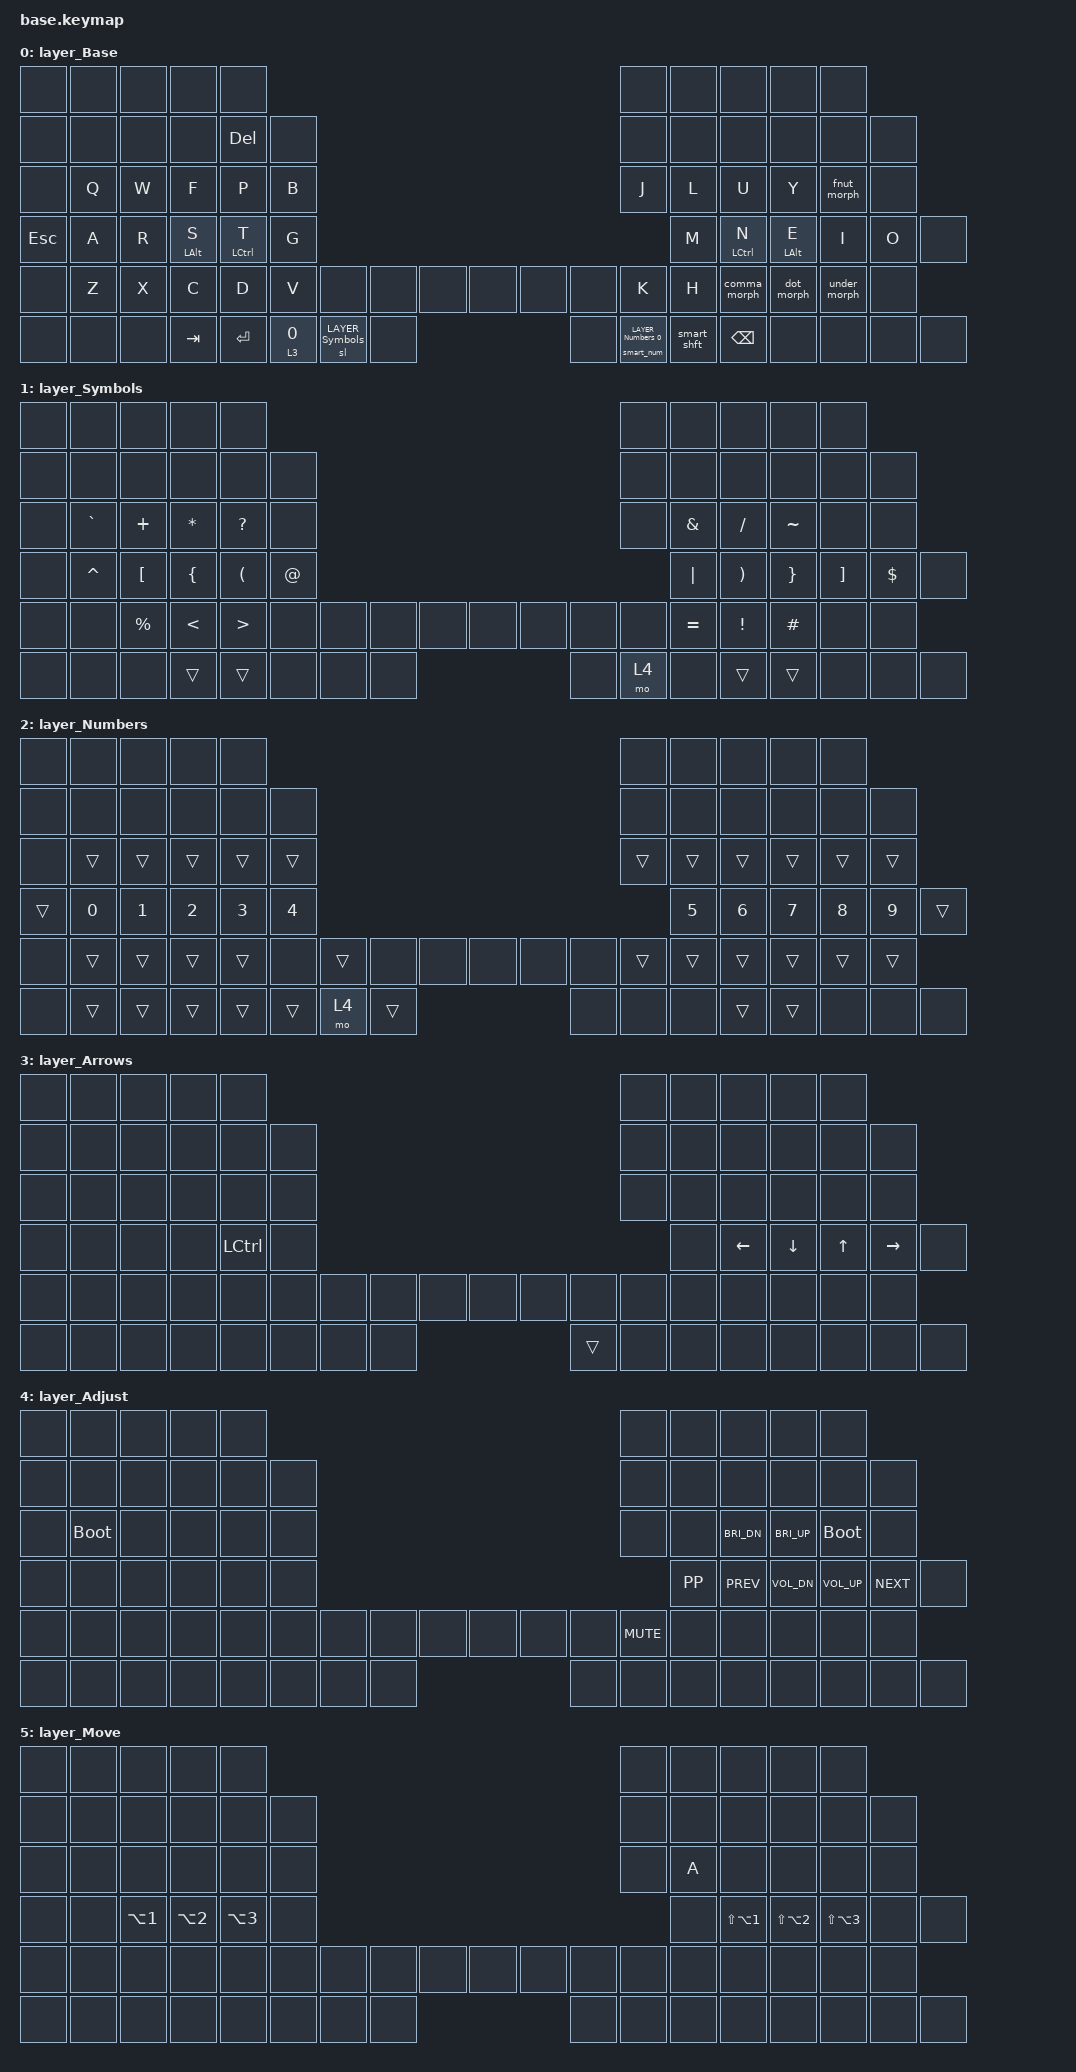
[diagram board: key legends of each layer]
/*
 * Copyright (c) 2020 The ZMK Contributors
 * Copyright (c) 2023 Innaworks Development Limited, trading as MoErgo
 *
 * SPDX-License-Identifier: MIT
 */


/* THIS FILE WAS GENERATED BY GLOVE80 LAYOUT EDITOR
 *
 * This file was generated automatically. You may or may not want to
 * edit it directly.
 */

#include <behaviors.dtsi>
#include <behaviors/num_word.dtsi> // requires auto-layer module
/* Include all behavior includes needed */
#include <dt-bindings/zmk/outputs.h>
#include <dt-bindings/zmk/keys.h>
#include <dt-bindings/zmk/bt.h>
#include <dt-bindings/zmk/rgb.h>


#include "zmk-helpers/helper.h"

/* Automatically generated layer name #define */
#define LAYER_Base 0
#define LAYER_Symbols 1
#define LAYER_Numbers 2
#define LAYER_Arrows 3
#define LAYER_Adjust 4
#define LAYER_Move 5

/* To deal with the situation where there is no Lower layer, to keep &lower happy */
#ifndef LAYER_Lower
#define LAYER_Lower 0
#endif

/* Custom Device-tree */



/* Glove80 system behavior & macros */

/* #define for key positions */
#define POS_LH_T1 52
#define POS_LH_T2 53
#define POS_LH_T3 54
#define POS_LH_T4 69
#define POS_LH_T5 70
#define POS_LH_T6 71
#define POS_LH_C1R2 15
#define POS_LH_C1R3 27
#define POS_LH_C1R4 39
#define POS_LH_C1R5 51
#define POS_LH_C2R1 4
#define POS_LH_C2R2 14
#define POS_LH_C2R3 26
#define POS_LH_C2R4 38
#define POS_LH_C2R5 50
#define POS_LH_C2R6 68
#define POS_LH_C3R1 3
#define POS_LH_C3R2 13
#define POS_LH_C3R3 25
#define POS_LH_C3R4 37
#define POS_LH_C3R5 49
#define POS_LH_C3R6 67
#define POS_LH_C4R1 2
#define POS_LH_C4R2 12
#define POS_LH_C4R3 24
#define POS_LH_C4R4 36
#define POS_LH_C4R5 48
#define POS_LH_C4R6 66
#define POS_LH_C5R1 1
#define POS_LH_C5R2 11
#define POS_LH_C5R3 23
#define POS_LH_C5R4 35
#define POS_LH_C5R5 47
#define POS_LH_C5R6 65
#define POS_LH_C6R1 0
#define POS_LH_C6R2 10
#define POS_LH_C6R3 22
#define POS_LH_C6R4 34
#define POS_LH_C6R5 46
#define POS_LH_C6R6 64
#define POS_RH_T1 57
#define POS_RH_T2 56
#define POS_RH_T3 55
#define POS_RH_T4 74
#define POS_RH_T5 73
#define POS_RH_T6 72
#define POS_RH_C1R2 16
#define POS_RH_C1R3 28
#define POS_RH_C1R4 40
#define POS_RH_C1R5 58
#define POS_RH_C2R1 5
#define POS_RH_C2R2 17
#define POS_RH_C2R3 29
#define POS_RH_C2R4 41
#define POS_RH_C2R5 59
#define POS_RH_C2R6 75
#define POS_RH_C3R1 6
#define POS_RH_C3R2 18
#define POS_RH_C3R3 30
#define POS_RH_C3R4 42
#define POS_RH_C3R5 60
#define POS_RH_C3R6 76
#define POS_RH_C4R1 7
#define POS_RH_C4R2 19
#define POS_RH_C4R3 31
#define POS_RH_C4R4 43
#define POS_RH_C4R5 61
#define POS_RH_C4R6 77
#define POS_RH_C5R1 8
#define POS_RH_C5R2 20
#define POS_RH_C5R3 32
#define POS_RH_C5R4 44
#define POS_RH_C5R5 62
#define POS_RH_C5R6 78
#define POS_RH_C6R1 9
#define POS_RH_C6R2 21
#define POS_RH_C6R3 33
#define POS_RH_C6R4 45
#define POS_RH_C6R5 63
#define POS_RH_C6R6 79

#define KEYS_R POS_RH_T1 57   \
POS_RH_T2 56   \
POS_RH_T3 55   \
POS_RH_T4 74   \
POS_RH_T5 73   \
POS_RH_T6 72   \
POS_RH_C1R2 16 \
POS_RH_C1R3 28 \
POS_RH_C1R4 40 \
POS_RH_C1R5 58 \
POS_RH_C2R1 5  \
POS_RH_C2R2 17 \
POS_RH_C2R3 29 \
POS_RH_C2R4 41 \
POS_RH_C2R5 59 \
POS_RH_C2R6 75 \
POS_RH_C3R1 6  \
POS_RH_C3R2 18 \
POS_RH_C3R3 30 \
POS_RH_C3R4 42 \
POS_RH_C3R5 60 \
POS_RH_C3R6 76 \
POS_RH_C4R1 7  \
POS_RH_C4R2 19 \
POS_RH_C4R3 31 \
POS_RH_C4R4 43 \
POS_RH_C4R5 61 \
POS_RH_C4R6 77 \
POS_RH_C5R1 8  \
POS_RH_C5R2 20 \
POS_RH_C5R3 32 \
POS_RH_C5R4 44 \
POS_RH_C5R5 62 \
POS_RH_C5R6 78 \
POS_RH_C6R1 9  \
POS_RH_C6R2 21 \
POS_RH_C6R3 33 \
POS_RH_C6R4 45 \
POS_RH_C6R5 63 \
POS_RH_C6R6 79 \


#define KEYS_L POS_LH_T1 52  \
POS_LH_T2 53  \
POS_LH_T3 54  \
POS_LH_T4 69  \
POS_LH_T5 70  \
POS_LH_T6 71  \
POS_LH_C1R2 15 \
POS_LH_C1R3 27 \
POS_LH_C1R4 39 \
POS_LH_C1R5 51 \
POS_LH_C2R1 4  \
POS_LH_C2R2 14 \
POS_LH_C2R3 26 \
POS_LH_C2R4 38 \
POS_LH_C2R5 50 \
POS_LH_C2R6 68 \
POS_LH_C3R1 3  \
POS_LH_C3R2 13 \
POS_LH_C3R3 25 \
POS_LH_C3R4 37 \
POS_LH_C3R5 49 \
POS_LH_C3R6 67 \
POS_LH_C4R1 2  \
POS_LH_C4R2 12 \
POS_LH_C4R3 24 \
POS_LH_C4R4 36 \
POS_LH_C4R5 48 \
POS_LH_C4R6 66 \
POS_LH_C5R1 1  \
POS_LH_C5R2 11 \
POS_LH_C5R3 23 \
POS_LH_C5R4 35 \
POS_LH_C5R5 47 \
POS_LH_C5R6 65 \
POS_LH_C6R1 0  \
POS_LH_C6R2 10 \
POS_LH_C6R3 22 \
POS_LH_C6R4 34 \
POS_LH_C6R5 46 \
POS_LH_C6R6 64 \



#define QUICK_TAP_MS 175


#define COMBO_TERM_FAST 18
#define COMBO_TERM_SLOW 30

#define COMBO_IDLE_FAST 150
#define COMBO_IDLE_SLOW 50

#define MAKE_HRM(NAME, HOLD, TAP, TRIGGER_POS) \
    ZMK_HOLD_TAP(NAME, \
        flavor = "balanced"; \
        tapping-term-ms = <280>; \
        quick-tap-ms = <QUICK_TAP_MS>; \
        require-prior-idle-ms = <150>; \
        bindings = <HOLD>, <TAP>; \
        hold-trigger-key-positions = <TRIGGER_POS>; \
    )

MAKE_HRM(hml, &kp, &kp, KEYS_R)  // left-hand HRMs
MAKE_HRM(hmr, &kp, &kp, KEYS_L)  // right-hand HRMs

&sk {  // sticky-key config
    release-after-ms = <900>;  // release after 0.9s
    quick-release;             // no double capitalization when rolling keys
};


&lt {  // layer-tap config
    flavor = "balanced";
    tapping-term-ms = <200>;
    quick-tap-ms = <QUICK_TAP_MS>;
};


// reuse basic mod-morph scheme
#define SIMPLE_MORPH(NAME, MOD, BINDING1, BINDING2) \
    ZMK_MOD_MORPH(NAME, \
        mods = <(MOD_L ## MOD|MOD_R ## MOD)>; \
        bindings = <BINDING1>, <BINDING2>; \
    )


// tap: space | shift + tap: sticky move layer | hold: arrows layer
ZMK_HOLD_TAP(lt_spc,
    flavor = "balanced";
    tapping-term-ms = <200>;
    quick-tap-ms = <QUICK_TAP_MS>;
    bindings = <&mo>, <&spc_morph>;
)
ZMK_MOD_MORPH(spc_morph,
    bindings = <&kp SPACE>, <&spc_macro>;
    mods = <(MOD_LSFT)>;
)
ZMK_MACRO(spc_macro,
    wait-ms = <0>;
    tap-ms = <0>;
    bindings = <&kp K_CANCEL &sl LAYER_Move>;
)

// tap: sticky-shift | shift + tap/ double-tap: caps-word | hold: shift
#define SMART_SHIFT &smart_shft
ZMK_MOD_MORPH(smart_shft,
    bindings = <&sk LSHFT>, <&caps_word>;
    mods = <(MOD_LSFT)>;
)

// tap: num-word | double-tap: sticky num-layer | hold: num-layer
#define SMART_NUM &smart_num LAYER_Numbers 0
ZMK_HOLD_TAP(smart_num,
    flavor = "balanced";
    tapping-term-ms = <200>;
    quick-tap-ms = <QUICK_TAP_MS>;
    bindings = <&mo>, <&num_dance>;
)
ZMK_TAP_DANCE(num_dance,
    tapping-term-ms = <200>;
    bindings = <&num_word LAYER_Numbers>, <&sl LAYER_Numbers>;  // reverse this for sticky-num on single tap
)

// tap: dot | shift + tap: colon
SIMPLE_MORPH(dot_morph, SFT, &kp DOT, &kp COLON)

// tap: comma | shift + tap: semicolon
SIMPLE_MORPH(comma_morph, SFT, &kp COMMA, &kp SEMI)

// tap: underscore | shift + tap: minus
SIMPLE_MORPH(under_morph, SFT, &kp UNDERSCORE, &kp MINUS)

// tap: double quote | shift + tap: single quote
SIMPLE_MORPH(fnut_morph, SFT, &kp DQT, &kp SQT)

/* Automatically generated keymap */
/ {
    keymap {
        compatible = "zmk,keymap";
        layer_Base {
            bindings = <
   &none   &none   &none    &none       &none                                                                       &none     &none      &none        &none       &none
   &none   &none   &none    &none       &kp DELETE          &none                                                        &none     &none      &none        &none       &none        &none
   &none   &kp Q   &kp W    &kp F       &kp P          &kp B                                                        &kp J     &kp L      &kp U        &kp Y       &fnut_morph  &none
   &kp ESC &kp A   &kp R    &hml LALT S &hml LCTRL T   &kp G                                                        &kp M     &hmr LCTRL N            &hmr LALT E &kp I        &kp O  &none
   &none   &kp Z   &kp X    &kp C       &kp D          &kp V     &none       &none   &none   &none   &none  &none   &kp K     &kp H      &comma_morph &dot_morph  &under_morph &none
   &none   &none   &none    &kp TAB     &kp RET               &lt_spc 3 0 &sl LAYER_Symbols   &none   &none    SMART_NUM  SMART_SHIFT  &kp BSPC  &none      &none        &none       &none
            >;
        };
        layer_Symbols {
            bindings = <
  &none     &none      &none      &none     &none                                                                         &none     &none      &none      &none    &none
  &none     &none      &none      &none     &none     &none                                                    &none      &none     &none      &none      &none    &none
  &none     &kp GRAVE  &kp PLUS   &kp STAR  &kp QMARK &none                                                    &none      &kp AMPS  &kp FSLH   &kp TILDE  &none    &none
  &none     &kp CARET  &kp LBKT   &kp LBRC  &kp LPAR  &kp AT                                                   &kp PIPE   &kp RPAR  &kp RBRC   &kp RBKT   &kp DLLR &none
  &none     &none      &kp PRCNT  &kp LT    &kp GT    &none  &none   &none   &none   &none   &none   &none     &none      &kp EQUAL &kp EXCL   &kp HASH   &none    &none
  &none     &none      &none      &trans    &trans           &none   &none   &none   &none   &mo 4   &none                &trans    &trans     &none      &none    &none
            >;
        };
        layer_Numbers {
            bindings = <
  &none      &none     &none      &none     &none                                                                        &none     &none     &none      &none   &none
  &none      &none     &none      &none     &none   &none                                                     &none      &none     &none     &none      &none   &none
  &none      &trans    &trans     &trans    &trans  &trans                                                     &trans      &trans     &trans     &trans      &trans   &trans
  &trans     &kp N0    &kp N1     &kp N2    &kp N3  &kp N4                                                    &kp N5     &kp N6    &kp N7    &kp N8     &kp N9  &trans
  &none      &trans    &trans     &trans    &trans  &none   &trans   &none   &none   &none   &none   &none     &trans     &trans     &trans     &trans      &trans   &trans
  &none      &trans    &trans     &trans    &trans          &trans   &mo 4  &trans   &none   &none   &none               &trans    &trans     &none      &none   &none
            >;
        };

        layer_Arrows {
            bindings = <
  &none   &none   &none   &none      &none                                                                     &none     &none   &none      &none   &none
  &none   &none   &none   &none      &none   &none                                                   &none     &none     &none   &none      &none   &none
  &none   &none   &none   &none      &none   &none                                                   &none     &none     &none   &none      &none   &none
  &none   &none   &none   &none  &kp LCTRL   &none                                                   &none  &kp LEFT  &kp DOWN  &kp UP  &kp RIGHT   &none
  &none   &none   &none   &none      &none   &none   &none   &none   &none   &none   &none   &none   &none     &none     &none   &none      &none   &none
  &none   &none   &none   &none      &none           &none   &none   &none  &trans   &none   &none             &none     &none   &none      &none   &none
            >;
        };

        layer_Adjust {
            bindings = <
  &none        &none   &none   &none   &none                                                                           &none         &none         &none        &none   &none
  &none        &none   &none   &none   &none   &none                                                       &none       &none         &none         &none        &none   &none
  &none  &bootloader   &none   &none   &none   &none                                                       &none       &none  &kp C_BRI_DN  &kp C_BRI_UP  &bootloader   &none
  &none        &none   &none   &none   &none   &none                                                    &kp K_PP  &kp K_PREV  &kp K_VOL_DN  &kp K_VOL_UP   &kp K_NEXT   &none
  &none        &none   &none   &none   &none   &none   &none   &none   &none   &none   &none   &none  &kp K_MUTE       &none         &none         &none        &none   &none
  &none        &none   &none   &none   &none           &none   &none   &none   &none   &none   &none                   &none         &none         &none        &none   &none
            >;
        };

        layer_Move {
            bindings = <
  &none          &none           &none           &none           &none                                                                      &none      &none      &none      &none   &none
  &none          &none           &none           &none           &none   &none                                                   &none      &none      &none      &none      &none   &none
  &none          &none           &none           &none           &none   &none                                                   &none      &kp A      &none      &none      &none   &none
  &none          &none           &kp LA(N1)  &kp LA(N2)  &kp LA(N3)  &none                                           &none      &kp LS(LA(N1)) &kp LS(LA(N2)) &kp LS(LA(N3)) &none   &none
  &none          &none           &none           &none           &none   &none   &none   &none   &none   &none   &none   &none   &none      &none      &none      &none      &none   &none
  &none          &none           &none           &none           &none           &none   &none   &none   &none   &none   &none              &none      &none      &none      &none   &none
            >;
        };

    };
};
